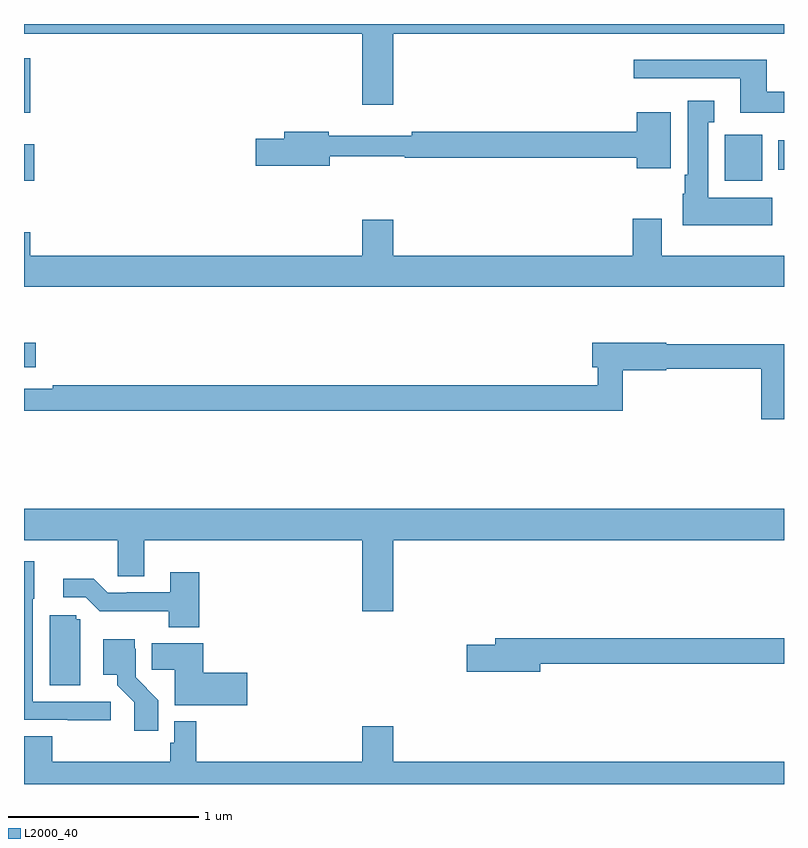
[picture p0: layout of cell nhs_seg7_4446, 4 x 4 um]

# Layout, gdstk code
import gdstk
lib = gdstk.Library(unit=1e-6, precision=1e-09)
def R(c, l, rs):  # rectangles x0, y0, x1, y1
    for r in rs: c.add(gdstk.rectangle(r[:2], r[2:], *l))
def P(c, l, *ps):  # polygons
    for p in ps: c.add(gdstk.Polygon(p, *l))
L2000_40 = (2000, 40)

nhs_seg7_4446 = lib.new_cell('nhs_seg7_4446')
R(nhs_seg7_4446, L2000_40, [(391,1000.193,391.063,1000.323), (391,1001.174,391.054,1001.368), (394.688,1001.174,394.885,1001.416), (394.97,1001.233,395,1001.389), (391,1001.534,391.034,1001.821)])
P(nhs_seg7_4446, L2000_40, [(391,1001.948),(392.78,1001.948),(392.78,1001.574),(392.944,1001.574),(392.944,1001.948),(395,1001.948),(395,1002),(391,1002)],
  [(395,1001.644),(394.909,1001.644),(394.909,1001.812),(394.209,1001.812),(394.209,1001.715),(394.769,1001.715),(394.769,1001.534),(395,1001.534)],
  [(394.939,1001.086),(394.6,1001.086),(394.6,1001.483),(394.633,1001.483),(394.633,1001.596),(394.493,1001.596),(394.493,1001.206),(394.478,1001.206),(394.478,1001.106),(394.466,1001.106),(394.466,1000.94),(394.939,1000.94)],
  [(394.405,1001.536),(394.226,1001.536),(394.226,1001.432),(393.04,1001.432),(393.04,1001.413),(392.604,1001.413),(392.604,1001.432),(392.369,1001.432),(392.369,1001.396),(392.22,1001.396),(392.22,1001.254),(392.608,1001.254),(392.608,1001.304),(393.004,1001.304),(393.004,1001.296),(394.226,1001.296),(394.226,1001.24),(394.405,1001.24)],
  [(395,1000.78),(394.357,1000.78),(394.357,1000.975),(394.205,1000.975),(394.205,1000.78),(392.944,1000.78),(392.944,1000.969),(392.78,1000.969),(392.78,1000.78),(391.034,1000.78),(391.034,1000.904),(391,1000.904),(391,1000.616),(395,1000.616)],
  [(395,1000.315),(394.38,1000.315),(394.38,1000.323),(393.992,1000.323),(393.992,1000.193),(394.019,1000.193),(394.019,1000.1),(391.15,1000.1),(391.15,1000.08),(391,1000.08),(391,999.964),(394.151,999.964),(394.151,1000.178),(394.38,1000.178),(394.38,1000.186),(394.88,1000.186),(394.88,999.921),(395,999.921)],
  [(392.944,999.284),(395,999.284),(395,999.448),(391,999.448),(391,999.284),(391.494,999.284),(391.494,999.094),(391.633,999.094),(391.633,999.284),(392.78,999.284),(392.78,998.91),(392.944,998.91)],
  [(391.456,998.433),(391.047,998.433),(391.047,998.976),(391.054,998.976),(391.054,999.172),(391,999.172),(391,998.337),(391.231,998.337),(391.231,998.335),(391.456,998.335)],
  [(391.922,999.115),(391.769,999.115),(391.769,999.009),(391.54,999.009),(391.54,999.006),(391.44,999.006),(391.367,999.079),(391.206,999.079),(391.206,998.982),(391.326,998.982),(391.399,998.91),(391.762,998.91),(391.762,998.825),(391.922,998.825)],
  [(391.297,998.868),(391.275,998.868),(391.275,998.889),(391.136,998.889),(391.136,998.52),(391.297,998.52)],
  [(393.718,998.632),(395,998.632),(395,998.768),(393.479,998.768),(393.479,998.732),(393.33,998.732),(393.33,998.59),(393.718,998.59)],
  [(391.706,998.442),(391.587,998.561),(391.587,998.712),(391.582,998.712),(391.582,998.761),(391.418,998.761),(391.418,998.576),(391.49,998.576),(391.49,998.521),(391.581,998.431),(391.581,998.28),(391.706,998.28)],
  [(392.176,998.585),(391.943,998.585),(391.943,998.74),(391.672,998.74),(391.672,998.602),(391.793,998.602),(391.793,998.414),(392.176,998.414)],
  [(395,998.116),(392.944,998.116),(392.944,998.305),(392.78,998.305),(392.78,998.116),(391.907,998.116),(391.907,998.329),(391.791,998.329),(391.791,998.217),(391.771,998.217),(391.771,998.116),(391.148,998.116),(391.148,998.252),(391,998.252),(391,998),(395,998)])

lib.write_gds('nhs_seg7_4446.gds')
